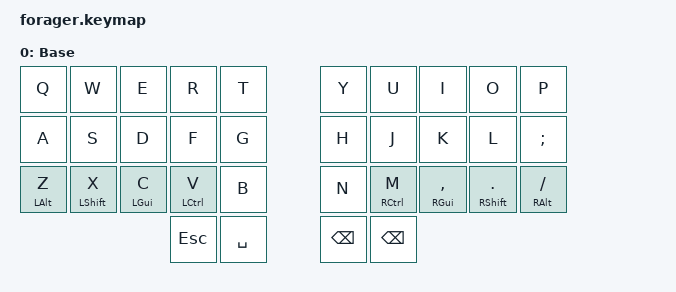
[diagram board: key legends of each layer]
/*
 * Copyright (c) 2020 The ZMK Contributors
 *
 * SPDX-License-Identifier: MIT
 */

#include <behaviors.dtsi>
#include <dt-bindings/zmk/keys.h>
#include <dt-bindings/zmk/bt.h>
#include <dt-bindings/zmk/outputs.h>

#define DEFAULT 0

#define BACK C_AC_BACK
#define FWD C_AC_FORWARD
#define PAUSE PAUSE_BREAK
#define VOL_DN C_VOL_DN
#define VOL_UP C_VOL_UP

#define LC_SPC LC(SPACE)
#define ZM_IN LC(EQUAL)
#define ZM_OUT LC(MINUS)
#define ZM_RST LC(N0)

#define BT0 BT_SEL 0
#define BT1 BT_SEL 1
#define BT2 BT_SEL 2
#define BT3 BT_SEL 3
#define BT4 BT_SEL 4


#define HYP LS(LC(LA(LGUI)))
#define HYPER(key) LS(LC(LA(LG(key))))

// key positions
// --------------------------------------------------------------------------------
//  |  0  |  1  |  2  |  3  |  4  |     |  5  |  6  |  7  |  8  |  9  |
//  |  10 |  11 |  12 |  13 |  14 |     |  15 |  16 |  17 |  18 |  19 |
//  |  20 |  21 |  22 |  23 |  24 |     |  25 |  26 |  27 |  28 |  29 |
//                    |  30 |  31 |     |  32 |  33 |

#define KEYS_L 0 1 2 3 4 10 11 12 13 14 20 21 22 23 24 // left-hand keys
#define KEYS_R 5 6 7 8 9 15 16 17 18 19 25 26 27 28 29 // right-hand keys
#define THUMBS 30 31 32 33                             // thumb keys

// &nice_view_spi {
//  cs-gpios = <&pro_micro 0 GPIO_ACTIVE_HIGH>;
// };

&mt {
  retro-tap;
};

&sk {
  //release-after-ms = <2000>;
  quick-release;
  // /delete-property/ ignore-modifiers;
};

&lt {
    quick-tap-ms = <200>;
    //tapping-term-ms = <250>;
};

/ {
  conditional_layers {
    compatible = "zmk,conditional-layers";
    tri_layer {
      if-layers = <LOWER RAISE>;
      then-layer = <FUN>;
    };
  };
  macros {
    none_blk: none_blk {
      label = "NON_BLOCKING";
      compatible = "zmk,behavior-macro";
      #binding-cells = <0>;
      bindings = <&macro_tap &kp LS(COMMA) &kp EQUAL>;
    };
   cmd_mode: cmd_mode {
      label = "VIM_CMD_MODE";
      compatible = "zmk,behavior-macro";
      #binding-cells = <0>;
      bindings = <&macro_tap &kp ESC &kp LS(SEMI)>;
    };
  };

  combos {
    compatible = "zmk,combos";

    combo_caps {
      timeout-ms = <50>;
      key-positions = <20 29>;
      bindings = <&caps_word>;
    };
    combo_esc { // J+K = ESC
      timeout-ms = <50>;
      key-positions = <16 17>;
      bindings = <&kp ESC>;
    };
    combo_vim_cmd { // L+; = ESC :
      timeout-ms = <50>;
      key-positions = <18 19>;
      bindings = <&cmd_mode>;
    };
  };
  behaviors {
    hml: home_mode_left {
      compatible = "zmk,behavior-hold-tap";
      label = "HML";
      #binding-cells = <2>;
      flavor = "balanced";
      tapping-term-ms = <280>;
      quick-tap-ms = <175>;                 // repeat on tap-into-hold
      require-prior-idle-ms = <150>;
      bindings = <&kp>, <&kp>;
      hold-trigger-key-positions = <KEYS_R THUMBS>;
      hold-trigger-on-release;              // delay positional check until key-release
    };
    hmr: home_mode_right {
      compatible = "zmk,behavior-hold-tap";
      label = "HMR";
      #binding-cells = <2>;
      flavor = "balanced";
      tapping-term-ms = <280>;
      quick-tap-ms = <175>;                 // repeat on tap-into-hold
      require-prior-idle-ms = <150>;
      bindings = <&kp>, <&kp>;
      hold-trigger-key-positions = <KEYS_L THUMBS>;
      hold-trigger-on-release;              // delay positional check until key-release
    };
    bspc_del: backspace_delete {
        compatible = "zmk,behavior-mod-morph";
        #binding-cells = <0>;
        bindings = <&kp BACKSPACE>, <&kp DELETE>;
        mods = <(MOD_LSFT|MOD_RSFT)>;
        keep-mods = <(MOD_RSFT)>;
    };
    super_bspc: super_backspace {
        compatible = "zmk,behavior-mod-morph";
        #binding-cells = <0>;
        bindings = <&kp BACKSPACE>, <&kp LA(BACKSPACE)>;
        mods = <(MOD_LSFT|MOD_RSFT)>;
    };
    smart_shft: smart_shift {
        compatible = "zmk,behavior-mod-morph";
        #binding-cells = <0>;
        bindings = <&kp LSHFT>, <&caps_word>;
        mods = <(MOD_LSFT)>;
    };
    comma_semi: comma_semi {
        compatible = "zmk,behavior-mod-morph";
        #binding-cells = <0>;
        bindings = <&kp COMMA>, <&kp SEMI>;
        mods = <(MOD_LSFT)>;
    };
    dot_colon: dot_colon {
        compatible = "zmk,behavior-mod-morph";
        #binding-cells = <0>;
        bindings = <&kp DOT>, <&kp COLON>;
        mods = <(MOD_LSFT)>;
    };
    qmrk_excl: qmrk_excl {
        compatible = "zmk,behavior-mod-morph";
        #binding-cells = <0>;
        bindings = <&kp QMARK>, <&kp EXCL>;
        mods = <(MOD_LSFT)>;
    };
    slh_morph: slh_morph {
        compatible = "zmk,behavior-mod-morph";
        #binding-cells = <0>;
        bindings = <&kp FSLH>, <&kp BSLH>;
        mods = <(MOD_LSFT)>;
    };
    amps_morph: amps_morph {
        compatible = "zmk,behavior-mod-morph";
        #binding-cells = <0>;
        bindings = <&kp AMPS>, <&kp PIPE>;
        mods = <(MOD_LSFT)>;
    };
  };
        keymap {
                compatible = "zmk,keymap";

                default_layer {
                        display-name = "Base";
                        bindings = <
// ╭─────────────┬─────────────┬─────────────┬─────────────┬─────────────╮   ╭─────────────┬─────────────┬─────────────┬─────────────┬─────────────╮
        &kp Q         &kp W         &kp E         &kp R         &kp T              &kp Y        &kp U         &kp I         &kp O         &kp P   
// ├─────────────┼─────────────┼─────────────┼─────────────┼─────────────┤   ├─────────────┼─────────────┼─────────────┼─────────────┼─────────────┤
        &kp A         &kp S         &kp D         &kp F         &kp G              &kp H        &kp J         &kp K         &kp L       &kp SEMI
// ├─────────────┼─────────────┼─────────────┼─────────────┼─────────────┤   ├─────────────┼─────────────┼─────────────┼─────────────┼─────────────┤
    &hml LALT Z    &hml LSHFT X  &hml LGUI C   &hml LCTRL V     &kp B              &kp N    &hmr RCTRL M &hmr RGUI COMMA &hmr RSHFT DOT &hmr RALT FSLH
// ╰─────────────┴───────────────────────────┼─────────────┼─────────────┤   ├─────────────┼─────────────┼─────────────┼─────────────┴─────────────╯
                                               &kp ESC      &kp SPACE          &kp BSPC      &kp BSPC              
//                                           ╰─────────────┴─────────────╯   ╰─────────────┴─────────────╯
                        >;
                };

        };
};
